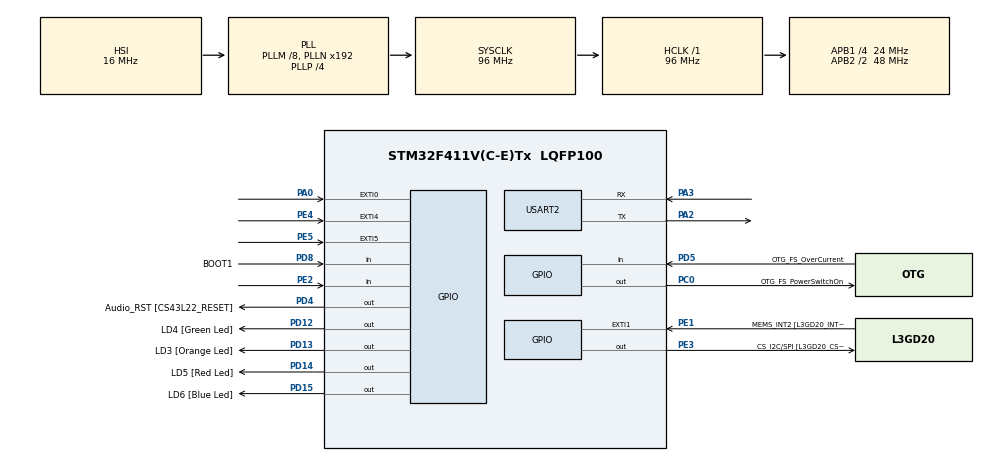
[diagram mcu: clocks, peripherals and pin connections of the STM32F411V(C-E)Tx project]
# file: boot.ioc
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Mcu.Family=STM32F4
Mcu.Name=STM32F411V(C-E)Tx
Mcu.Package=LQFP100
NVIC.PriorityGroup=NVIC_PRIORITYGROUP_0
PA0-WKUP.GPIO_ModeDefaultEXTI=GPIO_MODE_EVT_RISING
PA0-WKUP.Signal=GPXTI0
PA10.GPIO_Label=OTG_FS_ID
PA10.Signal=USB_OTG_FS_ID
PA11.GPIO_Label=OTG_FS_DM
PA11.Signal=USB_OTG_FS_DM
PA12.GPIO_Label=OTG_FS_DP
PA12.Signal=USB_OTG_FS_DP
PA13.GPIO_Label=SWDIO
PA13.Signal=SYS_JTMS-SWDIO
PA14.GPIO_Label=SWCLK
PA14.Signal=SYS_JTCK-SWCLK
PA2.Mode=Asynchronous
PA2.Signal=USART2_TX
PA3.Mode=Asynchronous
PA3.Signal=USART2_RX
PA4.GPIO_Label=I2S3_WS [CS43L22_LRCK]
PA4.GPIO_Mode=GPIO_MODE_AF_PP
PA4.GPIO_PuPd=GPIO_NOPULL
PA4.GPIO_Speed=GPIO_SPEED_FREQ_LOW
PA4.Signal=I2S3_WS
PA5.GPIO_Label=SPI1_SCK [L3GD20_SC/SPC]
PA5.Signal=SPI1_SCK
PA6.GPIO_Label=SPI1_MISO [L3GD20_AS0/SDO]
PA6.Signal=SPI1_MISO
PA7.GPIO_Label=SPI1_MOSI [L3GD20_SDA/SDI/SDO]
PA7.Signal=SPI1_MOSI
PA9.GPIO_Label=VBUS_FS
PA9.Signal=USB_OTG_FS_VBUS
PB10.GPIO_Label=CLK_IN [MP45DT02_CLK]
PB10.Signal=I2S2_CK
PB12.Signal=I2S2_WS
PB3.GPIO_Label=SWO
PB3.Signal=SYS_JTDO-SWO
PB6.GPIO_Label=Audio_SCL [CS43L22_SCL]
PB6.GPIO_Mode=GPIO_MODE_AF_OD
PB6.GPIO_PuPd=GPIO_NOPULL
PB6.GPIO_Speed=GPIO_SPEED_FREQ_LOW
PB6.Signal=I2C1_SCL
PB9.GPIO_Label=Audio_SDA [CS43L22_SDA]
PB9.GPIO_Mode=GPIO_MODE_AF_OD
PB9.GPIO_PuPd=GPIO_NOPULL
PB9.GPIO_Speed=GPIO_SPEED_FREQ_LOW
PB9.Signal=I2C1_SDA
PC0.GPIO_Label=OTG_FS_PowerSwitchOn
PC0.PinState=GPIO_PIN_SET
PC0.Signal=GPIO_Output
PC10.GPIO_Label=I2S3_SCK [CS43L22_SCLK]
PC10.GPIO_Mode=GPIO_MODE_AF_PP
PC10.GPIO_PuPd=GPIO_NOPULL
PC10.GPIO_Speed=GPIO_SPEED_FREQ_LOW
PC10.Signal=I2S3_CK
PC12.GPIO_Label=I2S3_SD [CS43L22_SDIN]
PC12.GPIO_Mode=GPIO_MODE_AF_PP
PC12.GPIO_PuPd=GPIO_NOPULL
PC12.GPIO_Speed=GPIO_SPEED_FREQ_LOW
PC12.Signal=I2S3_SD
PC14-OSC32_IN.GPIO_Label=PC14-OSC32_IN
PC14-OSC32_IN.Mode=LSE-External-Oscillator
PC14-OSC32_IN.Signal=RCC_OSC32_IN
PC15-OSC32_OUT.GPIO_Label=PC15-OSC32_OUT
PC15-OSC32_OUT.Mode=LSE-External-Oscillator
PC15-OSC32_OUT.Signal=RCC_OSC32_OUT
PC3.GPIO_Label=PDM_OUT [MP45DT02_DOUT]
PC3.Signal=I2S2_SD
PC7.GPIO_Label=I2S3_MCK [CS43L22_MCLK]
PC7.GPIO_Mode=GPIO_MODE_AF_PP
PC7.GPIO_PuPd=GPIO_NOPULL
PC7.GPIO_Speed=GPIO_SPEED_FREQ_LOW
PC7.Signal=I2S3_MCK
PD12.GPIO_Label=LD4 [Green Led]
PD12.GPIO_PuPd=GPIO_NOPULL
PD12.GPIO_Speed=GPIO_SPEED_FREQ_LOW
PD12.Signal=GPIO_Output
PD13.GPIO_Label=LD3 [Orange Led]
PD13.GPIO_PuPd=GPIO_NOPULL
PD13.GPIO_Speed=GPIO_SPEED_FREQ_LOW
PD13.Signal=GPIO_Output
PD14.GPIO_Label=LD5 [Red Led]
PD14.GPIO_PuPd=GPIO_NOPULL
PD14.GPIO_Speed=GPIO_SPEED_FREQ_LOW
PD14.Signal=GPIO_Output
PD15.GPIO_Label=LD6 [Blue Led]
PD15.GPIO_PuPd=GPIO_NOPULL
PD15.GPIO_Speed=GPIO_SPEED_FREQ_LOW
PD15.Signal=GPIO_Output
PD4.GPIO_Label=Audio_RST [CS43L22_RESET]
PD4.Signal=GPIO_Output
PD5.GPIO_Label=OTG_FS_OverCurrent
PD5.Signal=GPIO_Input
PD8.GPIO_Label=BOOT1
PD8.Signal=GPIO_Input
PE1.GPIO_Label=MEMS_INT2 [L3GD20_INT2]
PE1.GPIO_ModeDefaultEXTI=GPIO_MODE_EVT_RISING
PE1.Signal=GPXTI1
PE2.Signal=GPIO_Input
PE3.GPIO_Label=CS_I2C/SPI [L3GD20_CS_I2C/SPI]
PE3.Signal=GPIO_Output
PE4.GPIO_ModeDefaultEXTI=GPIO_MODE_EVT_RISING
PE4.Signal=GPXTI4
PE5.GPIO_ModeDefaultEXTI=GPIO_MODE_EVT_RISING
PE5.Signal=GPXTI5
PH0\ -\ OSC_IN.GPIO_Label=PH0-OSC_IN
PH0\ -\ OSC_IN.Mode=HSE-External-Oscillator
PH0\ -\ OSC_IN.Signal=RCC_OSC_IN
PH1\ -\ OSC_OUT.GPIO_Label=PH1-OSC_OUT
PH1\ -\ OSC_OUT.Mode=HSE-External-Oscillator
PH1\ -\ OSC_OUT.Signal=RCC_OSC_OUT
ProjectManager.HeapSize=0x200
ProjectManager.StackSize=0x400
ProjectManager.TargetToolchain=STM32CubeIDE
RCC.48MHZClocksFreq_Value=48000000
RCC.AHBFreq_Value=96000000
RCC.APB1CLKDivider=RCC_HCLK_DIV4
RCC.APB1Freq_Value=24000000
RCC.APB1TimFreq_Value=48000000
RCC.APB2CLKDivider=RCC_HCLK_DIV2
RCC.APB2Freq_Value=48000000
RCC.APB2TimFreq_Value=96000000
RCC.CortexFreq_Value=96000000
RCC.HCLKFreq_Value=96000000
RCC.HSE_VALUE=8000000
RCC.HSI_VALUE=16000000
RCC.PLLI2SM=5
RCC.PLLI2SN=200
RCC.PLLM=8
RCC.PLLP=RCC_PLLP_DIV4
RCC.PLLQ=8
RCC.SYSCLKFreq_VALUE=96000000
RCC.SYSCLKSource=RCC_SYSCLKSOURCE_PLLCLK
RCC.VCOOutputFreq_Value=384000000
USART2.VirtualMode=VM_ASYNC
board=STM32F411E-DISCO

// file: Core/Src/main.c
/* USER CODE BEGIN Header */
/**
  ******************************************************************************
  * @file           : main.c
  * @brief          : Main program body
  ******************************************************************************
  * @attention
  *
  * <h2><center>&copy; Copyright (c) 2021 STMicroelectronics.
  * All rights reserved.</center></h2>
  *
  * This software component is licensed by ST under BSD 3-Clause license,
  * the "License"; You may not use this file except in compliance with the
  * License. You may obtain a copy of the License at:
  *                        opensource.org/licenses/BSD-3-Clause
  *
  ******************************************************************************
  */
/* USER CODE END Header */
#include "main.h"
#include "usart.h"
#include "gpio.h"

/* USER CODE BEGIN Includes */
#include <stdlib.h>
#include <string.h>
#include "bootloader.h"
/* USER CODE END Includes */

/* USER CODE BEGIN PTD */
typedef enum
{
	DATA_TYPE_8=0,
	DATA_TYPE_16,
	DATA_TYPE_32,
}DataTypeDef;
/* USER CODE END PTD */

void SystemClock_Config(void);
/* USER CODE BEGIN PFP */
void bootloaderInit(void);
void errorBlink(void);
void successBlink(void);
/* USER CODE END PFP */

/* USER CODE BEGIN 0 */
uint32_t MY_SectorAddrs;
uint8_t MY_SectorNum;

 void MY_FLASH_EraseSector(void)
{
	HAL_FLASH_Unlock();
	//Erase the required Flash sector
	FLASH_Erase_Sector(MY_SectorNum, FLASH_VOLTAGE_RANGE_3);
	HAL_FLASH_Lock();
}

void MY_FLASH_SetSectorAddrs(uint8_t sector, uint32_t addrs)
{
	MY_SectorNum = sector;
	MY_SectorAddrs = addrs;
}

// https://github.com/MYaqoobEmbedded/STM32-Tutorials/blob/master/Tutorial%2030%20-%20FLASH%20Memory/MY_FLASH.c
void MY_FLASH_WriteN(uint32_t idx, void *wrBuf, uint32_t Nsize, DataTypeDef dataType)
{
	uint32_t flashAddress = MY_SectorAddrs + idx;

	//Erase sector before write
	MY_FLASH_EraseSector();

	//Unlock Flash
	HAL_FLASH_Unlock();
	//Write to Flash
	switch(dataType)
	{
		case DATA_TYPE_8:
				for(uint32_t i=0; i<Nsize; i++)
				{
					HAL_FLASH_Program(FLASH_TYPEPROGRAM_BYTE, flashAddress , ((uint8_t *)wrBuf)[i]);
					flashAddress++;
				}
			break;

		case DATA_TYPE_16:
				for(uint32_t i=0; i<Nsize; i++)
				{
					HAL_FLASH_Program(FLASH_TYPEPROGRAM_HALFWORD, flashAddress , ((uint16_t *)wrBuf)[i]);
					flashAddress+=2;
				}
			break;

		case DATA_TYPE_32:
				for(uint32_t i=0; i<Nsize; i++)
				{
					HAL_FLASH_Program(FLASH_TYPEPROGRAM_WORD, flashAddress , ((uint32_t *)wrBuf)[i]);
					flashAddress+=4;
				}
			break;
	}
	//Lock the Flash space
	HAL_FLASH_Lock();
}

void MY_FLASH_ReadN(uint32_t idx, void *rdBuf, uint32_t Nsize, DataTypeDef dataType)
{
	uint32_t flashAddress = MY_SectorAddrs + idx;

	switch(dataType)
	{
		case DATA_TYPE_8:
				for(uint32_t i=0; i<Nsize; i++)
				{
					*((uint8_t *)rdBuf + i) = *(uint8_t *)flashAddress;
					flashAddress++;
				}
			break;

		case DATA_TYPE_16:
				for(uint32_t i=0; i<Nsize; i++)
				{
					*((uint16_t *)rdBuf + i) = *(uint16_t *)flashAddress;
					flashAddress+=2;
				}
			break;

		case DATA_TYPE_32:
				for(uint32_t i=0; i<Nsize; i++)
				{
					*((uint32_t *)rdBuf + i) = *(uint32_t *)flashAddress;
					flashAddress+=4;
				}
			break;
	}
}
/* USER CODE END 0 */

int main(void)
{

  /* MCU Configuration--------------------------------------------------------*/

  /* Reset of all peripherals, Initializes the Flash interface and the Systick. */
  HAL_Init();

  /* Configure the system clock */
  SystemClock_Config();

  /* Initialize all configured peripherals */
  MX_GPIO_Init();
  MX_USART2_UART_Init();
  /* USER CODE BEGIN 2 */

  // when trying to program the board without this st link fails with
  // error DEV_TARGET_NOT_HALTED, as it tries to erase all the flash
  // memory and could not as the flash controller is busy with this
  // little procedure
  HAL_Delay(5000);

  char tw[50];
  memset(tw, 0, sizeof(tw));
  strcpy(tw, "Testing");

  size_t tl = strlen(tw);

  MY_FLASH_SetSectorAddrs(7, 0x8060000);
  // MY_FLASH_WriteN(0, (uint8_t *) tw, (uint32_t) tl, DATA_TYPE_8);

  char tr[50];
  memset(tr, 0, sizeof(tr));

  bootloaderInit();

  // MY_FLASH_ReadN(0, (uint8_t *) tr, (uint32_t) tl, DATA_TYPE_8);
  /* USER CODE END 2 */

  /* Infinite loop */
  while (1)
  {

  }
}

void SystemClock_Config(void)
{
  RCC_OscInitTypeDef RCC_OscInitStruct = {0};
  RCC_ClkInitTypeDef RCC_ClkInitStruct = {0};

  /** Configure the main internal regulator output voltage
  */
  __HAL_RCC_PWR_CLK_ENABLE();
  __HAL_PWR_VOLTAGESCALING_CONFIG(PWR_REGULATOR_VOLTAGE_SCALE1);
  /** Initializes the RCC Oscillators according to the specified parameters
  * in the RCC_OscInitTypeDef structure.
  */
  RCC_OscInitStruct.OscillatorType = RCC_OSCILLATORTYPE_HSI;
  RCC_OscInitStruct.HSIState = RCC_HSI_ON;
  RCC_OscInitStruct.HSICalibrationValue = RCC_HSICALIBRATION_DEFAULT;
  RCC_OscInitStruct.PLL.PLLState = RCC_PLL_ON;
  RCC_OscInitStruct.PLL.PLLSource = RCC_PLLSOURCE_HSI;
  RCC_OscInitStruct.PLL.PLLM = 8;
  RCC_OscInitStruct.PLL.PLLN = 192;
  RCC_OscInitStruct.PLL.PLLP = RCC_PLLP_DIV4;
  RCC_OscInitStruct.PLL.PLLQ = 8;
  if (HAL_RCC_OscConfig(&RCC_OscInitStruct) != HAL_OK)
  {
    Error_Handler();
  }
  /** Initializes the CPU, AHB and APB buses clocks
  */
  RCC_ClkInitStruct.ClockType = RCC_CLOCKTYPE_HCLK|RCC_CLOCKTYPE_SYSCLK
                              |RCC_CLOCKTYPE_PCLK1|RCC_CLOCKTYPE_PCLK2;
  RCC_ClkInitStruct.SYSCLKSource = RCC_SYSCLKSOURCE_PLLCLK;
  RCC_ClkInitStruct.AHBCLKDivider = RCC_SYSCLK_DIV1;
  RCC_ClkInitStruct.APB1CLKDivider = RCC_HCLK_DIV4;
  RCC_ClkInitStruct.APB2CLKDivider = RCC_HCLK_DIV2;

  if (HAL_RCC_ClockConfig(&RCC_ClkInitStruct, FLASH_LATENCY_3) != HAL_OK)
  {
    Error_Handler();
  }
}

/* USER CODE BEGIN 4 */
void bootloaderInit()
{
	Flashed_offset = 0;
	flashStatus = Unerased;
	BootloaderMode bootloaderMode;

	// based on pin value, determine bootloader mode
	if(HAL_GPIO_ReadPin(BOOT1_GPIO_Port, BOOT1_Pin) == GPIO_PIN_SET) {
		bootloaderMode = FlashMode;

		// here we need to enable uart (or actually read all the data???)

	} else {
		bootloaderMode = JumpMode;
	}

	if(bootloaderMode == JumpMode)
	{
		char tr[4];
		memset(tr, 0, sizeof(tr));

		uint8_t emptyCellCount = 0;
		uint32_t idx = 0;

		// TODO: ??? how many iterations should we conduct there?
		for(uint8_t i=0; i<10; i++)
		{
			MY_FLASH_ReadN(idx, (uint8_t *) tr, 4, DATA_TYPE_8);
			uint32_t word = tr[0] | (tr[1] << 8) | (tr[2] << 16) | (tr[3] << 24);
			if(word == 0xffffffff) {
				emptyCellCount++;
			}

			idx += 4;
		}

		if(emptyCellCount != 10) {
			// jumpToApp(APP1_START);
			successBlink();
		} else {
			errorBlink();
		}
	}
}

void errorBlink() {
	HAL_GPIO_WritePin(LD5_GPIO_Port, LD5_Pin, GPIO_PIN_SET);
}

void successBlink() {
	HAL_GPIO_WritePin(LD4_GPIO_Port, LD4_Pin, GPIO_PIN_SET);
}
/* USER CODE END 4 */

void Error_Handler(void)
{
  __disable_irq();
  while (1)
  {
  }
}

/************************ (C) COPYRIGHT STMicroelectronics *****END OF FILE****/
